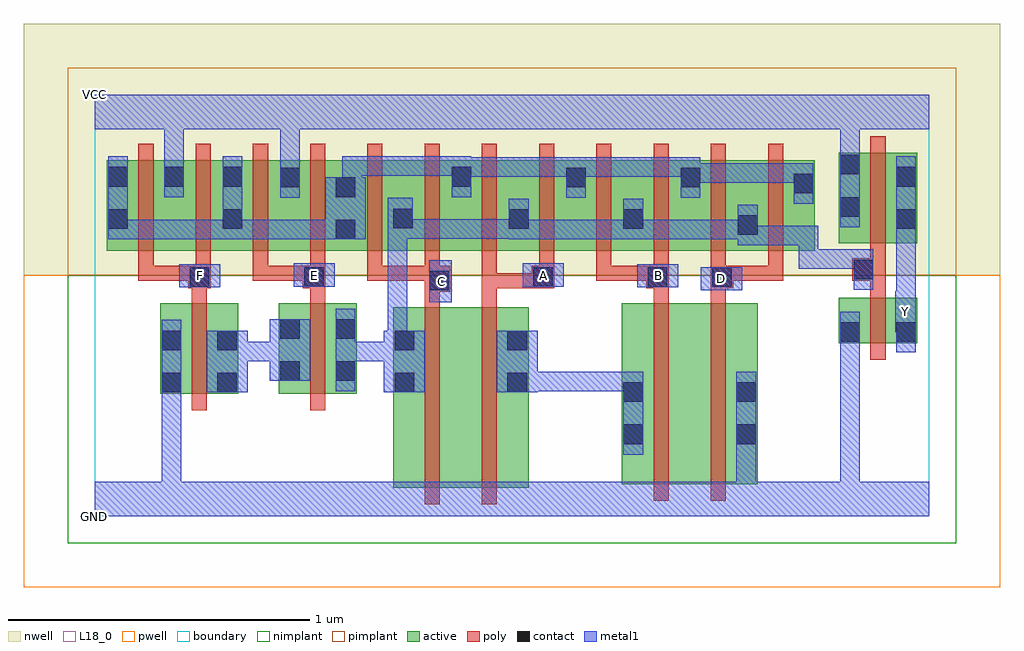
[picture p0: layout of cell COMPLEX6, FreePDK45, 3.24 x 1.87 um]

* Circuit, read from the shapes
.subckt COMPLEX6 A B C D E F GND VCC Y
M1 n1 F GND VSUBS nfet w=0.3u l=0.05u
M2 n2 E n1 VSUBS nfet w=0.3u l=0.05u
M3 n3 C n2 VSUBS nfet w=0.6u l=0.05u
M4 n4 A n3 VSUBS nfet w=0.6u l=0.05u
M5 n5 B n4 VSUBS nfet w=0.6u l=0.05u
M6 GND D n5 VSUBS nfet w=0.6u l=0.05u
M7 Y n2 GND VSUBS nfet w=0.15u l=0.05u
M8 VCC F n6 n7 pfet w=0.3u l=0.05u m=2
M9 VCC E n6 n7 pfet w=0.3u l=0.05u m=2
M10 n2 C n6 n7 pfet w=0.3u l=0.05u m=2
M11 n2 A n6 n7 pfet w=0.3u l=0.05u m=2
M12 n2 B n6 n7 pfet w=0.3u l=0.05u m=2
M13 n2 D n6 n7 pfet w=0.3u l=0.05u m=2
M14 Y n2 VCC n7 pfet w=0.3u l=0.05u
.ends

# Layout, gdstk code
import gdstk
lib = gdstk.Library(unit=1e-6, precision=1e-09)
def R(c, l, rs):  # rectangles x0, y0, x1, y1
    for r in rs: c.add(gdstk.rectangle(r[:2], r[2:], *l))
def A(c, l, x, y, w, h, nx, ny, dx, dy):  # array of equal rectangles
    R(c, l, [(x+i*dx, y+j*dy, x+i*dx+w, y+j*dy+h) for i in range(nx) for j in range(ny)])
active = (1, 0)
pwell = (2, 0)
nwell = (3, 0)
nimplant = (4, 0)
pimplant = (5, 0)
poly = (9, 0)
contact = (10, 0)
metal1 = (11, 0)
L18_0 = (18, 0)
boundary = (235, 0)

complex6 = lib.new_cell('COMPLEX6')
A(complex6, active, 1.18, 0.882, 0.265, 0.3, 5, 1, 0.19, 0)
A(complex6, active, 1.18, 0.995, 0.075, 0.172, 3, 1, 0.38, 0)
R(complex6, active, [(0.99,0.095,1.215,0.695), (1.215,0.095,1.44,0.695), (1.75,0.107,1.975,0.707), (1.975,0.107,2.2,0.707), (0.99,0.145,1.095,0.695), (1.365,0.145,1.44,0.695), (1.75,0.145,1.855,0.707), (2.125,0.145,2.2,0.707), (0.217,0.407,0.477,0.707), (0.217,0.407,0.292,0.707), (0.402,0.407,0.477,0.707), (0.61,0.407,0.87,0.707), (0.61,0.445,0.685,0.707), (0.795,0.445,0.87,0.707), (2.47,0.575,2.545,0.725), (2.47,0.575,2.73,0.725), (2.655,0.575,2.73,0.725), (0.04,0.882,0.3,1.182), (0.04,0.882,0.115,1.167), (0.225,0.882,0.495,1.182), (0.42,0.882,0.685,1.182), (0.61,0.882,0.87,1.182), (0.795,0.882,1.06,1.182), (0.985,0.882,1.255,1.182), (2.13,0.882,2.39,1.182), (2.315,0.882,2.39,1.167), (2.47,0.907,2.73,1.207), (2.47,0.907,2.545,1.207), (2.655,0.907,2.73,1.165), (0.795,0.915,0.87,1.167), (2.13,0.93,2.205,1.07), (0.42,0.95,0.495,1.167), (1.37,0.95,1.445,1.07), (1.75,0.95,1.825,1.07), (0.985,0.952,1.06,1.07), (0.225,0.995,0.3,1.167), (0.61,0.995,0.685,1.167)])
R(complex6, pwell, [(-0.235,-0.235,3.005,0.8)])
R(complex6, nwell, [(-0.235,0.8,3.005,1.635)])
R(complex6, nimplant, [(-0.09,-0.09,2.86,0.8)])
R(complex6, pimplant, [(-0.09,0.8,2.86,1.49)])
A(complex6, poly, 0.145, 0.782, 0.05, 0.095, 6, 1, 0.19, 0)
A(complex6, poly, 1.475, 0.782, 0.05, 0.095, 5, 1, 0.19, 0)
A(complex6, poly, 0.145, 0.827, 0.05, 0.41, 12, 1, 0.19, 0)
R(complex6, poly, [(1.095,0.04,1.145,0.75), (1.285,0.04,1.335,0.75), (1.855,0.052,1.905,0.762), (2.045,0.052,2.095,0.762), (0.322,0.352,0.372,0.762), (0.715,0.352,0.765,0.762), (2.575,0.52,2.625,0.78), (1.095,0.7,1.145,0.795), (1.285,0.7,1.335,0.807), (0.322,0.712,0.372,0.807), (0.715,0.712,0.765,0.807), (1.855,0.712,1.905,0.807), (2.045,0.712,2.095,0.807), (2.575,0.73,2.625,0.832), (1.095,0.745,1.18,0.832), (0.31,0.757,0.385,0.832), (0.69,0.757,0.765,0.832), (1.285,0.757,1.335,0.807), (1.285,0.757,1.5,0.807), (1.285,0.757,1.335,0.877), (1.45,0.757,1.5,0.807), (1.45,0.757,1.5,0.807), (1.45,0.757,1.525,0.832), (1.83,0.757,1.905,0.832), (2.045,0.757,2.12,0.832), (0.145,0.782,0.195,0.832), (0.145,0.782,0.195,0.832), (0.145,0.782,0.195,0.832), (0.145,0.782,0.36,0.832), (0.525,0.782,0.575,0.832), (0.525,0.782,0.74,0.832), (0.69,0.782,0.74,0.832), (0.69,0.782,0.74,0.832), (0.905,0.782,0.955,0.832), (0.905,0.782,1.145,0.832), (1.095,0.782,1.145,0.832), (1.095,0.782,1.145,0.832), (1.665,0.782,1.715,0.832), (1.665,0.782,1.715,0.832), (1.665,0.782,1.715,0.832), (1.665,0.782,1.88,0.832), (2.07,0.782,2.285,0.832), (2.235,0.782,2.285,0.832), (2.235,0.782,2.285,0.832), (2.235,0.782,2.285,0.832), (2.515,0.782,2.625,0.857), (2.575,0.807,2.625,0.902), (2.575,0.852,2.625,1.262)])
R(complex6, contact, [(1.755,0.24,1.82,0.305), (2.13,0.24,2.195,0.305), (1.755,0.38,1.82,0.445), (2.13,0.38,2.195,0.445), (0.222,0.412,0.287,0.477), (0.407,0.412,0.472,0.477), (0.995,0.412,1.06,0.477), (1.37,0.412,1.435,0.477), (0.615,0.45,0.68,0.515), (0.8,0.45,0.865,0.515), (0.222,0.552,0.287,0.617), (0.407,0.552,0.472,0.617), (0.995,0.552,1.06,0.617), (1.37,0.552,1.435,0.617), (2.475,0.58,2.54,0.645), (2.66,0.58,2.725,0.645), (0.615,0.59,0.68,0.655), (0.8,0.59,0.865,0.655), (1.11,0.75,1.175,0.815), (0.315,0.762,0.38,0.827), (0.695,0.762,0.76,0.827), (1.455,0.762,1.52,0.827), (1.835,0.762,1.9,0.827), (2.05,0.762,2.115,0.827), (2.52,0.787,2.585,0.852), (0.8,0.92,0.865,0.985), (2.135,0.935,2.2,1), (0.045,0.955,0.11,1.02), (0.425,0.955,0.49,1.02), (1.375,0.955,1.44,1.02), (1.755,0.955,1.82,1.02), (2.66,0.955,2.725,1.02), (0.99,0.957,1.055,1.022), (2.475,0.995,2.54,1.06), (0.8,1.06,0.865,1.125), (2.32,1.072,2.385,1.137), (0.615,1.092,0.68,1.157), (1.565,1.092,1.63,1.157), (1.945,1.092,2.01,1.157), (0.045,1.095,0.11,1.16), (0.23,1.095,0.295,1.16), (0.425,1.095,0.49,1.16), (1.185,1.095,1.25,1.16), (2.66,1.095,2.725,1.16), (2.475,1.135,2.54,1.2)])
R(complex6, metal1, [(0,0,2.77,0.115), (0.222,0.05,0.287,0.115), (0.222,0.05,0.287,0.115), (0.222,0.05,0.287,0.115), (0.222,0.05,0.287,0.115), (0.222,0.05,0.287,0.442), (2.13,0.05,2.195,0.27), (2.475,0.05,2.54,0.115), (2.475,0.05,2.54,0.115), (2.475,0.05,2.54,0.115), (2.475,0.05,2.54,0.115), (2.475,0.05,2.54,0.115), (2.475,0.05,2.54,0.115), (2.475,0.05,2.54,0.61), (1.755,0.205,1.82,0.48), (2.13,0.205,2.195,0.48), (2.13,0.205,2.195,0.27), (2.13,0.205,2.195,0.27), (0.222,0.377,0.287,0.652), (0.222,0.377,0.287,0.442), (0.222,0.377,0.287,0.442), (0.372,0.412,0.507,0.617), (0.96,0.412,1.095,0.617), (1.335,0.412,1.47,0.617), (0.8,0.415,0.865,0.69), (1.405,0.415,1.47,0.48), (1.405,0.415,1.47,0.48), (1.405,0.415,1.607,0.48), (1.542,0.415,1.607,0.48), (1.542,0.415,1.607,0.48), (1.542,0.415,1.607,0.48), (1.542,0.415,1.82,0.48), (0.58,0.45,0.715,0.655), (0.442,0.515,0.555,0.58), (0.49,0.515,0.555,0.58), (0.49,0.515,0.645,0.58), (0.8,0.515,0.975,0.58), (0.91,0.515,0.975,0.58), (0.91,0.515,1.025,0.58), (2.475,0.545,2.54,0.61), (2.475,0.545,2.54,0.61), (2.475,0.545,2.54,0.68), (2.66,0.545,2.725,0.68), (0.972,0.552,1.037,0.617), (0.972,0.552,1.037,0.617), (0.972,0.552,1.037,0.987), (2.657,0.612,2.725,0.747), (2.66,0.615,2.725,0.68), (2.66,0.682,2.725,0.985), (1.11,0.71,1.185,0.85), (2.012,0.75,2.15,0.827), (2.52,0.752,2.585,0.887), (0.28,0.76,0.417,0.837), (1.8,0.76,1.937,0.837), (0.66,0.762,0.797,0.84), (1.42,0.762,1.557,0.84), (2.337,0.822,2.402,0.887), (2.337,0.822,2.402,0.887), (2.337,0.822,2.585,0.887), (2.337,0.822,2.402,0.965), (2.52,0.822,2.585,0.887), (2.52,0.822,2.585,0.887), (2.52,0.822,2.585,0.887), (2.52,0.822,2.585,0.887), (2.135,0.9,2.2,1.035), (2.135,0.9,2.402,0.965), (0.045,0.92,0.11,1.195), (0.045,0.92,0.11,0.985), (0.045,0.92,0.11,0.985), (0.045,0.92,0.247,0.985), (0.182,0.92,0.247,0.985), (0.182,0.92,0.392,0.985), (0.327,0.92,0.392,0.985), (0.327,0.92,0.49,0.985), (0.425,0.92,0.49,1.195), (0.425,0.92,0.53,0.985), (0.465,0.92,0.53,0.985), (0.465,0.92,0.692,0.985), (0.627,0.92,0.692,0.985), (0.627,0.92,0.692,0.985), (0.627,0.92,0.692,0.985), (0.627,0.92,0.83,0.985), (0.765,0.92,0.9,1.125), (1.375,0.92,1.44,0.985), (1.375,0.92,1.44,0.985), (1.375,0.92,1.44,1.055), (1.375,0.92,1.607,0.985), (1.542,0.92,1.607,0.985), (1.542,0.92,1.607,0.985), (1.542,0.92,1.607,0.985), (1.542,0.92,1.82,0.985), (1.755,0.92,1.82,0.985), (1.755,0.92,1.82,0.985), (1.755,0.92,1.82,1.055), (1.755,0.92,2.057,0.985), (1.992,0.92,2.057,0.985), (1.992,0.92,2.2,0.985), (2.135,0.92,2.2,0.985), (2.135,0.92,2.2,0.985), (2.66,0.92,2.725,1.195), (0.972,0.922,1.055,1.057), (0.99,0.922,1.112,0.987), (1.047,0.922,1.112,0.987), (1.047,0.922,1.262,0.987), (1.197,0.922,1.262,0.987), (1.197,0.922,1.262,0.987), (1.197,0.922,1.262,0.987), (1.197,0.922,1.44,0.987), (2.475,0.96,2.54,1.235), (2.32,1.037,2.385,1.172), (0.615,1.057,0.68,1.192), (1.565,1.057,1.63,1.192), (1.945,1.057,2.01,1.192), (0.23,1.06,0.295,1.195), (0.822,1.06,0.887,1.195), (1.185,1.06,1.25,1.195), (1.945,1.107,2.195,1.172), (2.13,1.107,2.195,1.172), (2.13,1.107,2.195,1.172), (2.13,1.107,2.195,1.172), (2.13,1.107,2.385,1.172), (2.32,1.107,2.385,1.172), (2.32,1.107,2.385,1.172), (0.615,1.127,0.68,1.35), (1.185,1.127,1.25,1.192), (1.185,1.127,1.25,1.192), (1.185,1.127,1.47,1.192), (1.405,1.127,1.47,1.192), (1.405,1.127,1.47,1.192), (1.405,1.127,1.47,1.192), (1.405,1.127,1.63,1.192), (1.565,1.127,1.63,1.192), (1.565,1.127,1.63,1.192), (1.565,1.127,1.872,1.192), (1.807,1.127,1.872,1.192), (1.807,1.127,1.872,1.192), (1.807,1.127,1.872,1.192), (1.807,1.127,2.01,1.192), (0.23,1.13,0.295,1.195), (0.23,1.13,0.295,1.195), (0.23,1.13,0.295,1.35), (0.822,1.13,0.887,1.195), (0.822,1.13,0.887,1.195), (0.822,1.13,0.887,1.195), (0.822,1.13,1.112,1.195), (1.047,1.13,1.112,1.195), (1.047,1.13,1.112,1.195), (1.047,1.13,1.112,1.195), (1.047,1.13,1.25,1.195), (2.475,1.17,2.54,1.235), (2.475,1.17,2.54,1.235), (2.475,1.17,2.54,1.35), (0,1.285,2.77,1.4), (0.615,1.285,0.68,1.35), (0.615,1.285,0.68,1.35)])
R(complex6, L18_0, [(0,0,2.77,0.115), (0.222,0.05,0.287,0.115), (0.222,0.05,0.287,0.115), (0.222,0.05,0.287,0.115), (0.222,0.05,0.287,0.115), (0.222,0.05,0.287,0.442), (2.13,0.05,2.195,0.27), (2.475,0.05,2.54,0.115), (2.475,0.05,2.54,0.115), (2.475,0.05,2.54,0.115), (2.475,0.05,2.54,0.115), (2.475,0.05,2.54,0.115), (2.475,0.05,2.54,0.115), (2.475,0.05,2.54,0.61), (2.13,0.205,2.195,0.27), (2.13,0.205,2.195,0.27), (2.13,0.205,2.195,0.48), (0.222,0.377,0.287,0.442), (0.222,0.377,0.287,0.442), (0.222,0.377,0.287,0.652), (2.475,0.545,2.54,0.61), (2.475,0.545,2.54,0.61), (2.475,0.545,2.54,0.68), (2.66,0.545,2.725,0.68), (2.657,0.612,2.725,0.747), (2.66,0.615,2.725,0.68), (2.657,0.647,2.722,0.712), (2.66,0.682,2.725,0.985), (1.11,0.71,1.185,0.85), (1.117,0.747,1.182,0.812), (2.012,0.75,2.15,0.827), (2.047,0.757,2.112,0.822), (0.28,0.76,0.417,0.837), (1.8,0.76,1.937,0.837), (0.66,0.762,0.797,0.84), (1.42,0.762,1.557,0.84), (0.317,0.767,0.382,0.832), (0.697,0.767,0.762,0.832), (1.457,0.767,1.522,0.832), (1.837,0.767,1.902,0.832), (2.66,0.92,2.725,1.195), (2.475,0.96,2.54,1.235), (0.615,1.057,0.68,1.192), (0.23,1.06,0.295,1.195), (0.615,1.127,0.68,1.35), (0.23,1.13,0.295,1.195), (0.23,1.13,0.295,1.195), (0.23,1.13,0.295,1.35), (2.475,1.17,2.54,1.235), (2.475,1.17,2.54,1.235), (2.475,1.17,2.54,1.35), (0,1.285,2.77,1.4), (0.615,1.285,0.68,1.35), (0.615,1.285,0.68,1.35)])
R(complex6, boundary, [(0,0,2.77,1.4)])
complex6.add(gdstk.Label('A', (1.49,0.8), layer=11, texttype=0))
complex6.add(gdstk.Label('B', (1.87,0.8), layer=11, texttype=0))
complex6.add(gdstk.Label('C', (1.15,0.78), layer=11, texttype=0))
complex6.add(gdstk.Label('D', (2.08,0.79), layer=11, texttype=0))
complex6.add(gdstk.Label('E', (0.73,0.8), layer=11, texttype=0))
complex6.add(gdstk.Label('F', (0.35,0.8), layer=11, texttype=0))
complex6.add(gdstk.Label('Y', (2.69,0.68), layer=11, texttype=0))
complex6.add(gdstk.Label('VCC', (0,1.4), layer=11, texttype=0))
complex6.add(gdstk.Label('GND', (0,0), layer=11, texttype=0))

lib.write_gds('COMPLEX6.gds')
